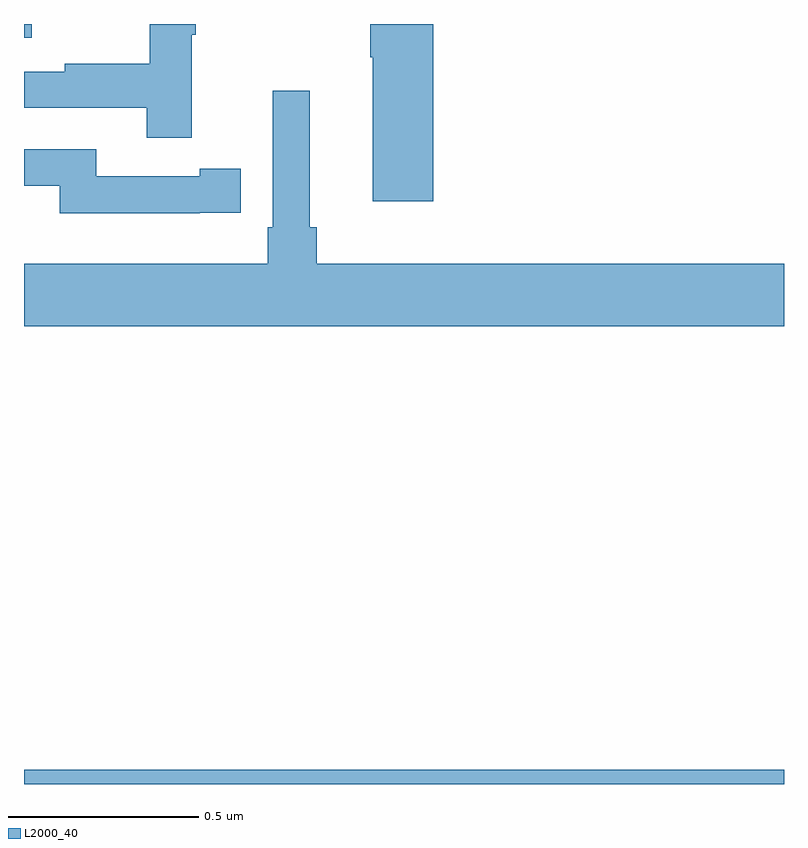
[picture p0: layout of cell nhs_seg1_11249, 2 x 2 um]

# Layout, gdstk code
import gdstk
lib = gdstk.Library(unit=1e-6, precision=1e-09)
def R(c, l, rs):  # rectangles x0, y0, x1, y1
    for r in rs: c.add(gdstk.rectangle(r[:2], r[2:], *l))
def P(c, l, *ps):  # polygons
    for p in ps: c.add(gdstk.Polygon(p, *l))
L2000_40 = (2000, 40)

nhs_seg1_11249 = lib.new_cell('nhs_seg1_11249')
R(nhs_seg1_11249, L2000_40, [(251,545.199,253,545.236), (251,547.163,251.02,547.199)])
P(nhs_seg1_11249, L2000_40, [(251.441,547.171),(251.452,547.171),(251.452,547.199),(251.331,547.199),(251.331,547.094),(251.107,547.094),(251.107,547.074),(251,547.074),(251,546.978),(251.323,546.978),(251.323,546.9),(251.441,546.9)],
  [(252.077,547.199),(251.911,547.199),(251.911,547.111),(251.918,547.111),(251.918,546.732),(252.077,546.732)],
  [(253,546.568),(251.771,546.568),(251.771,546.664),(251.752,546.664),(251.752,547.024),(251.655,547.024),(251.655,546.664),(251.642,546.664),(251.642,546.568),(251,546.568),(251,546.404),(253,546.404)],
  [(251.462,546.702),(251.57,546.702),(251.57,546.818),(251.462,546.818),(251.462,546.798),(251.19,546.798),(251.19,546.87),(251,546.87),(251,546.774),(251.094,546.774),(251.094,546.701),(251.462,546.701)])

lib.write_gds('nhs_seg1_11249.gds')
